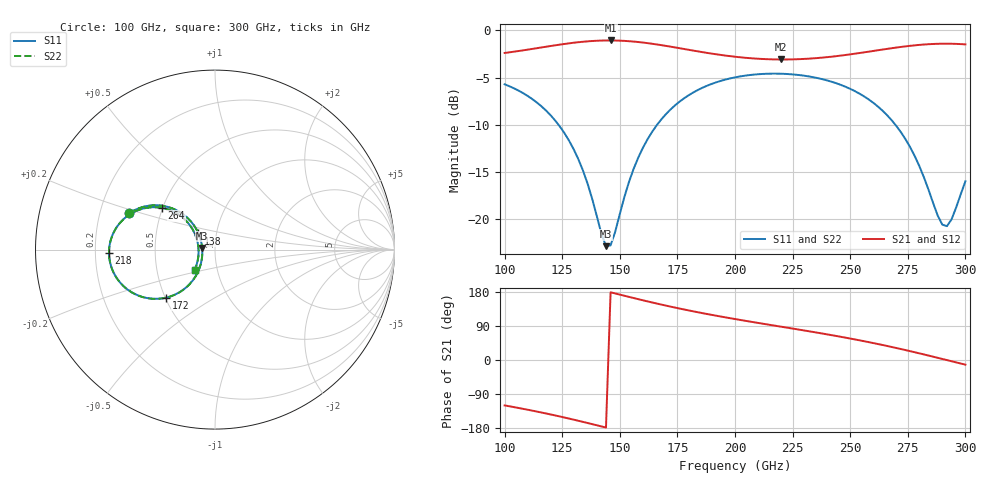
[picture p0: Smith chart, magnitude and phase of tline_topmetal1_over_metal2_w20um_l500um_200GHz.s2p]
#  GHZ S DB R 50
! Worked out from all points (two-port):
!   101 points, 100 GHz to 300 GHz, reference 50 ohm
!   highest |S21| = -1.06 dB at 146 GHz (marker M1); lowest = -3.1 dB at 220 GHz (marker M2)
!   |S21| within 3 dB of the highest: start of sweep to end of sweep
!   lowest |S11| = -22.8 dB at 144 GHz (marker M3), VSWR 1.16, Z = 43.3 + j0.836 ohm
!   |S11| at or under -10 dB: 123.5 GHz to 166.1 GHz (42.66 GHz wide, 29.5 % of centre); 269.7 GHz to end of sweep
!   |S22| runs from -22.8 to -4.6 dB; largest |S21 - S12| = 0
!   S11 on the Smith chart (normalised r, x): 100 GHz: 0.33, +0.18; 138 GHz: 0.82, +0.15; 172 GHz: 0.51, -0.32; 218 GHz: 0.26, -0.02; 264 GHz: 0.49, +0.27; 300 GHz: 0.78, -0.18
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100  -5.69 157.0  -2.38 -119.8  -2.38 -119.8  -5.69 157.0
120  -8.98 137.9  -1.64 -143.7  -1.64 -143.7  -8.98 137.9
128  -11.67 131.9  -1.36 -154.6  -1.36 -154.6  -11.67 131.9
134  -14.82 130.8  -1.20 -163.3  -1.20 -163.3  -14.82 130.8
138  -17.81 135.6  -1.12 -169.2  -1.12 -169.2  -17.81 135.6
144  -22.83 172.4  -1.06 -178.3  -1.06 -178.3  -22.85 172.4
146  -22.74 -165.5  -1.06 178.7  -1.06 178.7  -22.77 -165.4
156  -14.65 -126.0  -1.18 163.5  -1.18 163.5  -14.65 -125.9
168  -9.42 -131.9  -1.55 146.3  -1.55 146.3  -9.42 -131.8
172  -8.36 -135.5  -1.71 140.9  -1.71 140.9  -8.36 -135.4
184  -6.28 -147.2  -2.22 125.9  -2.22 125.9  -6.28 -147.1
200  -4.96 -162.2  -2.78 108.1  -2.78 108.1  -4.96 -162.2
218  -4.57 -178.0  -3.07 89.9  -3.07 89.9  -4.57 -178.0
220  -4.58 -179.8  -3.07 87.9  -3.07 87.9  -4.58 -179.7
234  -4.95 168.2  -2.95 73.9  -2.95 73.9  -4.95 168.3
250  -6.18 154.1  -2.53 56.6  -2.53 56.6  -6.18 154.2
264  -8.48 141.8  -2.02 39.6  -2.02 39.6  -8.48 141.9
268  -9.50 138.8  -1.88 34.4  -1.88 34.4  -9.50 138.9
278  -13.29 135.1  -1.57 20.5  -1.57 20.5  -13.29 135.2
290  -20.55 171.2  -1.40 2.7  -1.40 2.7  -20.58 171.3
294  -19.98 -157.9  -1.41 -3.3  -1.41 -3.3  -20.01 -157.8
300  -15.96 -135.2  -1.47 -12.3  -1.47 -12.3  -15.97 -135.0
